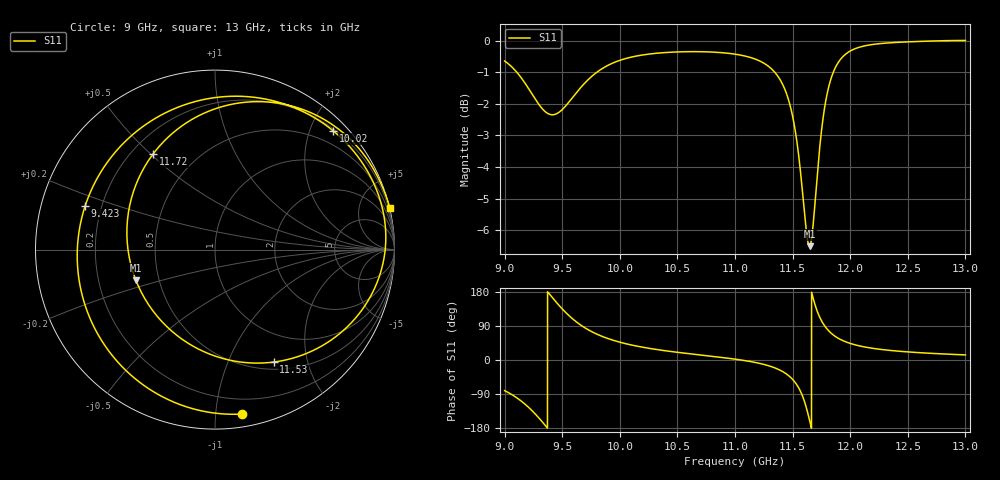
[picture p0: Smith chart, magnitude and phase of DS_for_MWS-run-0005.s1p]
! TOUCHSTONE file generated by CST DESIGN STUDIO
! Date and time: Tue Feb  4 13:42:57 2025
! Project name: C:\Work\MatlabApps\UnitCellOptimizationMatlab\CST\unitcell.cst
! Tree item: Tasks\Sweep1\SPara1\S-Parameters
! Header version: 2024
! Port assignment regex: !\s*Touchstone port\s*([0-9]+)\s*=\s*(CST MWS port|CST DES external port|CST DES block port)\s*(.+)\s* \(\"(.*)\"\)(\s*mode\s*([0-9]+))?.*
! Touchstone port assignment:
! Touchstone port 1 = CST DES external port 1 ("")
# GHz S MA R 50
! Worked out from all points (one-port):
!   4001 points, 9 GHz to 13 GHz, reference 50 ohm
!   lowest |S11| = -6.5 dB at 11.65 GHz (marker M1), VSWR 2.79, Z = 18.4 - j8.15 ohm
!   |S11| at or under -10 dB: nowhere
!   S11 on the Smith chart (normalised r, x): 9 GHz: 0.09, -1.17; 9.423 GHz: 0.14, +0.16; 10.02 GHz: 0.23, +2.38; 11.53 GHz: 0.59, -1.48; 11.72 GHz: 0.29, +0.51; 13 GHz: -0.02, +8.48
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9  0.9283 -80.8
9.111  0.8889 -100.9
9.204  0.8418 -123.7
9.322  0.782 -161.5
9.423  0.7633 161.6
9.5  0.7776 134.9
9.587  0.8114 109.4
9.684  0.852 87.4
9.832  0.8993 64.1
10  0.9305 47.0
10.023  0.9335 45.2
10.5  0.9595 20.3
11  0.9518 2.3
11.333  0.8961 -19.3
11.428  0.8412 -33.1
11.5  0.7591 -51.2
11.53  0.7066 -62.5
11.592  0.5607 -99.8
11.647  0.4727 -158.7
11.682  0.5198 159.0
11.721  0.6342 123.0
11.762  0.748 97.6
11.81  0.8398 78.0
11.894  0.922 57.7
12  0.9627 43.8
12.188  0.9856 31.2
12.5  0.9954 21.3
13  1.001 13.4
